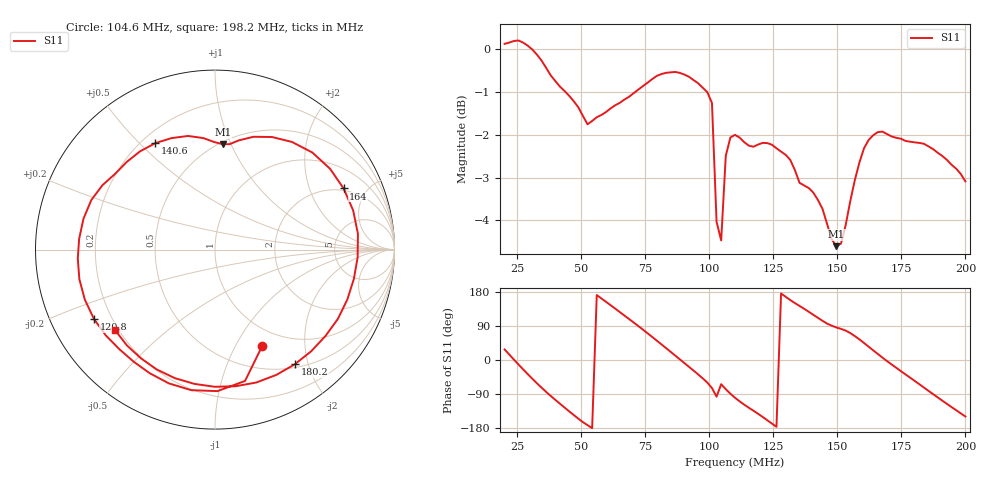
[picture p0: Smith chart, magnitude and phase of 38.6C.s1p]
# HZ S RI R 50
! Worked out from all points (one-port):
!   101 points, 20 MHz to 200 MHz, reference 50 ohm
!   lowest |S11| = -4.6 dB at 149.6 MHz (marker M1), VSWR 3.86, Z = 25.9 + j46.6 ohm
!   |S11| at or under -10 dB: nowhere
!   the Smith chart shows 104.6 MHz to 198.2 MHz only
!   S11 on the Smith chart (normalised r, x): 104.6 MHz: 0.77, -1.29; 120.8 MHz: 0.13, -0.26; 140.6 MHz: 0.25, +0.56; 164 MHz: 1.88, +3.47; 180.2 MHz: 0.55, -1.78; 198.2 MHz: 0.19, -0.34
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2e7  0.8972 0.4733
2.54e7  1.002 -0.2085
3.26e7  0.4746 -0.8639
3.8e7  -0.077 -0.9289
4.34e7  -0.5171 -0.7289
5.42e7  -0.8245 -0.0018
6.5e7  -0.5146 0.6961
7.58e7  0.3007 0.8627
8.3e7  0.7972 0.4949
8.84e7  0.9377 0.033
9.38e7  0.8136 -0.4302
9.92e7  0.4489 -0.7693
1.01e8  0.237 -0.8322
1.028e8  -0.074 -0.6245
1.046e8  0.263 -0.5369
1.1e8  -0.1321 -0.7832
1.208e8  -0.6746 -0.3861
1.334e8  -0.6272 0.3587
1.406e8  -0.3321 0.5934
1.496e8  0.0432 0.5873
1.55e8  0.2137 0.6285
1.64e8  0.7165 0.3408
1.712e8  0.7739 -0.1623
1.784e8  0.5361 -0.5663
1.802e8  0.4446 -0.6389
1.892e8  -0.1151 -0.7481
1.982e8  -0.5552 -0.4505
2e8  -0.6013 -0.3601
